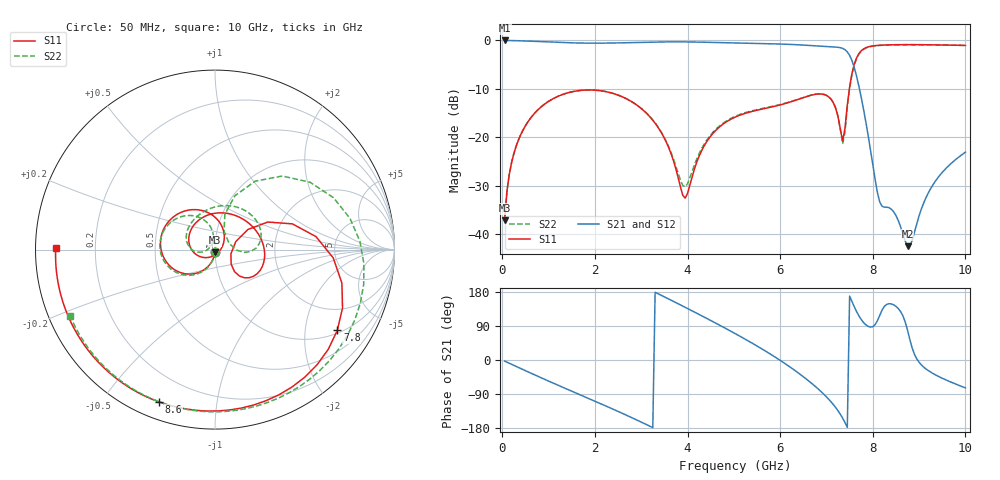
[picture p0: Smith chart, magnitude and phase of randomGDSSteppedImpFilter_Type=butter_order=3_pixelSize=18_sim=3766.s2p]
! freq	dB(S11)	phase(S11)	dB(S12)	phase(S12)
!  dB(S21)	phase(S21)	dB(S22)	phase(S22)
!S-par simulation data
#  GHz  S  DB  R 50
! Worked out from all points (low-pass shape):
!   200 points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, 50 MHz to 10 GHz, reference 50 ohm
!   highest |S21| = -0.01 dB at 50 MHz (marker M1); lowest = -42.4 dB at 8.75 GHz (marker M2)
!   |S21| within 3 dB of the highest: start of sweep to 7.495 GHz
!   lowest |S11| = -37.1 dB at 50 MHz (marker M3), VSWR 1.03, Z = 49.9 - j1.4 ohm
!   |S11| at or under -10 dB: start of sweep to 7.494 GHz
!   |S22| runs from -37.1 to -0.9 dB; largest |S21 - S12| = 0
!   S11 on the Smith chart (normalised r, x): 50 MHz: 1.00, -0.03; 7.8 GHz: 1.10, -2.96; 8.6 GHz: 0.07, -0.70; 10 GHz: 0.06, +0.00
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0.05  -37.06 -91.9  -0.01 -2.9  -0.01 -2.9  -37.06 -91.7
0.2  -25.21 -101.8  -0.03 -11.4  -0.03 -11.4  -25.20 -101.1
0.5  -17.59 -119.5  -0.12 -28.2  -0.12 -28.2  -17.58 -117.9
1.75  -10.25 170.7  -0.55 -95.5  -0.55 -95.5  -10.25 177.3
2.5  -11.27 128.1  -0.51 -135.6  -0.51 -135.6  -11.26 140.1
3.4  -18.47 67.4  -0.31 172.7  -0.31 172.7  -18.39 99.9
3.95  -32.49 -51.0  -0.30 139.0  -0.30 139.0  -30.18 148.8
4.4  -21.09 -152.5  -0.38 110.7  -0.38 110.7  -20.76 -170.9
5.05  -15.72 151.8  -0.53 68.3  -0.53 68.3  -15.56 162.0
5.95  -13.43 71.3  -0.73 3.1  -0.73 3.1  -13.34 112.3
6.7  -11.22 -0.1  -1.08 -63.6  -1.08 -63.6  -11.21 51.8
7.1  -12.15 -39.4  -1.32 -110.5  -1.32 -110.5  -12.09 7.5
7.35  -20.75 -15.1  -1.65 -153.7  -1.65 -153.7  -21.31 23.4
7.4  -18.08 21.3  -1.91 -165.2  -1.91 -165.2  -18.89 63.6
7.6  -4.93 7.3  -5.57 140.8  -5.57 140.8  -5.10 47.5
7.8  -1.76 -33.4  -14.19 99.1  -14.19 99.1  -1.85 3.3
8.15  -0.99 -76.0  -33.30 117.6  -33.30 117.6  -1.03 -43.9
8.35  -0.91 -92.7  -34.48 148.6  -34.48 148.6  -0.93 -62.6
8.6  -0.87 -110.1  -38.39 127.9  -38.39 127.9  -0.88 -81.9
8.75  -0.87 -119.3  -42.41 78.9  -42.41 78.9  -0.88 -92.0
9.3  -0.91 -148.6  -29.75 -35.6  -29.75 -35.6  -0.91 -123.2
10  -1.03 179.6  -23.03 -73.6  -23.03 -73.6  -1.04 -155.2
